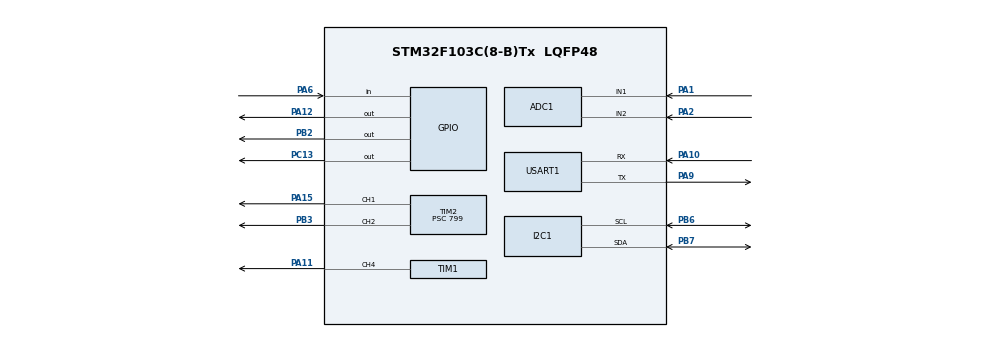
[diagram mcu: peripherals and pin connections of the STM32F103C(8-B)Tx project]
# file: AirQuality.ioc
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ADC1.Channel-1\#ChannelRegularConversion=ADC_CHANNEL_1
ADC1.NbrOfConversionFlag=1
ADC1.Rank-1\#ChannelRegularConversion=1
ADC1.SamplingTime-1\#ChannelRegularConversion=ADC_SAMPLETIME_1CYCLE_5
ADC1.master=1
Mcu.Family=STM32F1
Mcu.Name=STM32F103C(8-B)Tx
Mcu.Package=LQFP48
NVIC.PriorityGroup=NVIC_PRIORITYGROUP_4
NVIC.TIM4_IRQn=true\:0\:0\:false\:false\:true\:true\:true\:true
NVIC.USART1_IRQn=true\:0\:0\:false\:false\:true\:true\:true\:true
PA1.Signal=ADCx_IN1
PA10.Mode=Asynchronous
PA10.Signal=USART1_RX
PA11.Signal=S_TIM1_CH4
PA12.Signal=GPIO_Output
PA13.Mode=Serial_Wire
PA13.Signal=SYS_JTMS-SWDIO
PA14.Mode=Serial_Wire
PA14.Signal=SYS_JTCK-SWCLK
PA15.Signal=S_TIM2_CH1_ETR
PA2.Signal=ADCx_IN2
PA6.Signal=GPIO_Input
PA9.Mode=Asynchronous
PA9.Signal=USART1_TX
PB2.Signal=GPIO_Output
PB3.Signal=S_TIM2_CH2
PB6.Mode=I2C
PB6.Signal=I2C1_SCL
PB7.Mode=I2C
PB7.Signal=I2C1_SDA
PC13-TAMPER-RTC.Signal=GPIO_Output
ProjectManager.HeapSize=0x200
ProjectManager.StackSize=0x400
ProjectManager.TargetToolchain=MDK-ARM V5
RCC.APB1Freq_Value=8000000
RCC.APB2Freq_Value=8000000
SH.ADCx_IN1.0=ADC1_IN1,IN1
SH.ADCx_IN2.0=ADC1_IN2,IN2
SH.S_TIM1_CH4.0=TIM1_CH4,PWM Generation4 CH4
SH.S_TIM2_CH1_ETR.0=TIM2_CH1,PWM Generation1 CH1
SH.S_TIM2_CH2.0=TIM2_CH2,PWM Generation2 CH2
TIM1.Channel-PWM\ Generation4\ CH4=TIM_CHANNEL_4
TIM1.Period=99
TIM1.Prescaler=7999
TIM2.Channel-PWM\ Generation1\ CH1=TIM_CHANNEL_1
TIM2.Channel-PWM\ Generation2\ CH2=TIM_CHANNEL_2
TIM2.Period=199
TIM2.Prescaler=799
TIM4.Prescaler=8 - 1
USART1.VirtualMode=VM_ASYNC
VP_TIM1_VS_ClockSourceINT.Mode=Internal
VP_TIM2_VS_ClockSourceINT.Mode=Internal
VP_TIM4_VS_ClockSourceINT.Mode=Internal
board=custom

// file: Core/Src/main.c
/* USER CODE BEGIN Header */
/**
  ******************************************************************************
  * @file           : main.c
  * @brief          : Main program body
  ******************************************************************************
  * @attention
  *
  * Copyright (c) 2024 STMicroelectronics.
  * All rights reserved.
  *
  * This software is licensed under terms that can be found in the LICENSE file
  * in the root directory of this software component.
  * If no LICENSE file comes with this software, it is provided AS-IS.
  *
  ******************************************************************************
  */
/* USER CODE END Header */
#include "main.h"

/* USER CODE BEGIN Includes */
#include <stdio.h>
#include "string.h"
#include <math.h>
#include "i2c-lcd.h"
/* USER CODE END Includes */

ADC_HandleTypeDef hadc1;

I2C_HandleTypeDef hi2c1;

TIM_HandleTypeDef htim1;
TIM_HandleTypeDef htim2;
TIM_HandleTypeDef htim4;

UART_HandleTypeDef huart1;

/* USER CODE BEGIN PV */
uint8_t rxBuffer[14] = "";
uint16_t fanPWM = 49;
uint16_t door = 10;
uint16_t buzz = 200;
uint16_t coThreshold=2000;
uint16_t dustThreshold=600;
char bui[20];
char co2[20];
/* USER CODE END PV */

void SystemClock_Config(void);
static void MX_GPIO_Init(void);
static void MX_ADC1_Init(void);
static void MX_USART1_UART_Init(void);
static void MX_TIM1_Init(void);
static void MX_TIM4_Init(void);
static void MX_TIM2_Init(void);
static void MX_I2C1_Init(void);
/* USER CODE BEGIN PFP */
void delay_us(uint16_t delay);
/* USER CODE END PFP */

/* USER CODE BEGIN 0 */

//Get ADC value using adc 1
uint16_t ADC_GetValue(uint32_t channel){
		ADC_ChannelConfTypeDef conf = {
				.Channel = channel,
				.Rank = 1,
				.SamplingTime = ADC_SAMPLETIME_1CYCLE_5,
		};
		if (HAL_ADC_ConfigChannel(&hadc1, &conf) != HAL_OK) {
        Error_Handler();
    }
		HAL_ADC_Start(&hadc1);
		HAL_ADC_PollForConversion(&hadc1,HAL_MAX_DELAY);
		uint16_t res = HAL_ADC_GetValue(&hadc1);
		HAL_ADC_Stop(&hadc1);
		return res;
}

/* USER CODE END 0 */

int main(void)
{

  /* MCU Configuration--------------------------------------------------------*/

  /* Reset of all peripherals, Initializes the Flash interface and the Systick. */
  HAL_Init();

  /* Configure the system clock */
  SystemClock_Config();

  /* Initialize all configured peripherals */
  MX_GPIO_Init();
  MX_ADC1_Init();
  MX_USART1_UART_Init();
  MX_TIM1_Init();
  MX_TIM4_Init();
  MX_TIM2_Init();
  MX_I2C1_Init();
	lcd_init();
  /* USER CODE BEGIN 2 */
	HAL_TIM_PWM_Start(&htim1,TIM_CHANNEL_4);
	HAL_TIM_PWM_Start(&htim2, TIM_CHANNEL_1);
	HAL_TIM_PWM_Start(&htim2, TIM_CHANNEL_2);
	HAL_TIM_Base_Start_IT(&htim4);
	HAL_UART_Receive_IT(&huart1,rxBuffer,sizeof(rxBuffer));
  /* USER CODE END 2 */

  /* Infinite loop */
  /* USER CODE BEGIN WHILE */
	uint16_t adc_value_1;
	uint16_t adc_value_2;
	GPIO_PinState isGas;
	uint8_t msg[32] = "";

	lcd_goto_XY(1, 0);
	lcd_send_string("PPM Bui: ");
	HAL_Delay(50);
	lcd_goto_XY(2, 0);
	lcd_send_string("PPM CO2: ");
	HAL_Delay(50);

  while (1)
  {
    /* USER CODE END WHILE */

    /* USER CODE BEGIN 3 */
		//Toggle Led
		HAL_GPIO_TogglePin(GPIOC,GPIO_PIN_13);

		//Check MQ135 dectect Gas, 1 means OK, 0 means having gas
		isGas = HAL_GPIO_ReadPin(GPIOA,GPIO_PIN_6);

		//Drive LED for GP2Y
		HAL_GPIO_WritePin(GPIOA, GPIO_PIN_12, GPIO_PIN_SET);
		delay_us(280);

		//Get analog value of MQ135
		adc_value_1 = ADC_GetValue(ADC_CHANNEL_1);
		//Get analog value of GP2Y1010AU0F Dust sensor
		adc_value_2 = ADC_GetValue(ADC_CHANNEL_2);

		double airQualityLevel = 116.0602082 * pow((4096.0/adc_value_1*5-1)*10.0/76.63,-2.7769034857);
		double dustLevel = adc_value_2 / 4095.0 * 3.3 / 6.0 - 0.6;
		if(dustLevel < 0) dustLevel = 0;

		sprintf(bui, "%.1f", dustLevel);
		lcd_goto_XY(1, 10);
		lcd_send_string(bui);
		HAL_Delay(50);

		sprintf(co2, "%.1f", airQualityLevel);
		lcd_goto_XY(2, 10);
		lcd_send_string(co2);

		//Turn off LED for GP2Y
		HAL_GPIO_WritePin(GPIOA, GPIO_PIN_12, GPIO_PIN_RESET);
		delay_us(40);

		//Check sensor value to turn on fan
		//If having Gas, open door, turn on buzz, and fan
		if(isGas == 0 || airQualityLevel >= coThreshold ){
				//On fan, open door, turn on buzz
				__HAL_TIM_SET_COMPARE(&htim1,TIM_CHANNEL_4,fanPWM);
				__HAL_TIM_SET_COMPARE(&htim2,TIM_CHANNEL_1,door);
				__HAL_TIM_SET_COMPARE(&htim2,TIM_CHANNEL_2,buzz);
		}
		//If dust is too high, turn on fan and open windown
		else if (adc_value_2 <dustThreshold) {
				__HAL_TIM_SET_COMPARE(&htim1,TIM_CHANNEL_4,fanPWM);
				__HAL_TIM_SET_COMPARE(&htim2,TIM_CHANNEL_1,door);
				__HAL_TIM_SET_COMPARE(&htim2,TIM_CHANNEL_2,0);
		}
		//IF nothing pass threshold and no gas, turn off all
		else{
				//Off fan
				__HAL_TIM_SET_COMPARE(&htim1,TIM_CHANNEL_4,0);
				__HAL_TIM_SET_COMPARE(&htim2,TIM_CHANNEL_1,20);
				__HAL_TIM_SET_COMPARE(&htim2,TIM_CHANNEL_2,0);
		}

		//Make msg(message) from variables
		sprintf((char *)msg,"%d %d %d", isGas, (int)airQualityLevel,(int)dustLevel);
		//Send string by using UART
		HAL_UART_Transmit(&huart1,msg,sizeof(msg),10);

		HAL_Delay(1000);
  }
  /* USER CODE END 3 */
}

void SystemClock_Config(void)
{
  RCC_OscInitTypeDef RCC_OscInitStruct = {0};
  RCC_ClkInitTypeDef RCC_ClkInitStruct = {0};
  RCC_PeriphCLKInitTypeDef PeriphClkInit = {0};

  /** Initializes the RCC Oscillators according to the specified parameters
  * in the RCC_OscInitTypeDef structure.
  */
  RCC_OscInitStruct.OscillatorType = RCC_OSCILLATORTYPE_HSI;
  RCC_OscInitStruct.HSIState = RCC_HSI_ON;
  RCC_OscInitStruct.HSICalibrationValue = RCC_HSICALIBRATION_DEFAULT;
  RCC_OscInitStruct.PLL.PLLState = RCC_PLL_NONE;
  if (HAL_RCC_OscConfig(&RCC_OscInitStruct) != HAL_OK)
  {
    Error_Handler();
  }

  /** Initializes the CPU, AHB and APB buses clocks
  */
  RCC_ClkInitStruct.ClockType = RCC_CLOCKTYPE_HCLK|RCC_CLOCKTYPE_SYSCLK
                              |RCC_CLOCKTYPE_PCLK1|RCC_CLOCKTYPE_PCLK2;
  RCC_ClkInitStruct.SYSCLKSource = RCC_SYSCLKSOURCE_HSI;
  RCC_ClkInitStruct.AHBCLKDivider = RCC_SYSCLK_DIV1;
  RCC_ClkInitStruct.APB1CLKDivider = RCC_HCLK_DIV1;
  RCC_ClkInitStruct.APB2CLKDivider = RCC_HCLK_DIV1;

  if (HAL_RCC_ClockConfig(&RCC_ClkInitStruct, FLASH_LATENCY_0) != HAL_OK)
  {
    Error_Handler();
  }
  PeriphClkInit.PeriphClockSelection = RCC_PERIPHCLK_ADC;
  PeriphClkInit.AdcClockSelection = RCC_ADCPCLK2_DIV2;
  if (HAL_RCCEx_PeriphCLKConfig(&PeriphClkInit) != HAL_OK)
  {
    Error_Handler();
  }
}

static void MX_ADC1_Init(void)
{

  ADC_ChannelConfTypeDef sConfig = {0};

  /** Common config
  */
  hadc1.Instance = ADC1;
  hadc1.Init.ScanConvMode = ADC_SCAN_DISABLE;
  hadc1.Init.ContinuousConvMode = DISABLE;
  hadc1.Init.DiscontinuousConvMode = DISABLE;
  hadc1.Init.ExternalTrigConv = ADC_SOFTWARE_START;
  hadc1.Init.DataAlign = ADC_DATAALIGN_RIGHT;
  hadc1.Init.NbrOfConversion = 1;
  if (HAL_ADC_Init(&hadc1) != HAL_OK)
  {
    Error_Handler();
  }

  /** Configure Regular Channel
  */
  sConfig.Channel = ADC_CHANNEL_1;
  sConfig.Rank = ADC_REGULAR_RANK_1;
  sConfig.SamplingTime = ADC_SAMPLETIME_1CYCLE_5;
  if (HAL_ADC_ConfigChannel(&hadc1, &sConfig) != HAL_OK)
  {
    Error_Handler();
  }

}

static void MX_I2C1_Init(void)
{

  hi2c1.Instance = I2C1;
  hi2c1.Init.ClockSpeed = 100000;
  hi2c1.Init.DutyCycle = I2C_DUTYCYCLE_2;
  hi2c1.Init.OwnAddress1 = 0;
  hi2c1.Init.AddressingMode = I2C_ADDRESSINGMODE_7BIT;
  hi2c1.Init.DualAddressMode = I2C_DUALADDRESS_DISABLE;
  hi2c1.Init.OwnAddress2 = 0;
  hi2c1.Init.GeneralCallMode = I2C_GENERALCALL_DISABLE;
  hi2c1.Init.NoStretchMode = I2C_NOSTRETCH_DISABLE;
  if (HAL_I2C_Init(&hi2c1) != HAL_OK)
  {
    Error_Handler();
  }

}

static void MX_TIM1_Init(void)
{

  TIM_ClockConfigTypeDef sClockSourceConfig = {0};
  TIM_MasterConfigTypeDef sMasterConfig = {0};
  TIM_OC_InitTypeDef sConfigOC = {0};
  TIM_BreakDeadTimeConfigTypeDef sBreakDeadTimeConfig = {0};

  htim1.Instance = TIM1;
  htim1.Init.Prescaler = 7999;
  htim1.Init.CounterMode = TIM_COUNTERMODE_UP;
  htim1.Init.Period = 99;
  htim1.Init.ClockDivision = TIM_CLOCKDIVISION_DIV1;
  htim1.Init.RepetitionCounter = 0;
  htim1.Init.AutoReloadPreload = TIM_AUTORELOAD_PRELOAD_DISABLE;
  if (HAL_TIM_Base_Init(&htim1) != HAL_OK)
  {
    Error_Handler();
  }
  sClockSourceConfig.ClockSource = TIM_CLOCKSOURCE_INTERNAL;
  if (HAL_TIM_ConfigClockSource(&htim1, &sClockSourceConfig) != HAL_OK)
  {
    Error_Handler();
  }
  if (HAL_TIM_PWM_Init(&htim1) != HAL_OK)
  {
    Error_Handler();
  }
  sMasterConfig.MasterOutputTrigger = TIM_TRGO_RESET;
  sMasterConfig.MasterSlaveMode = TIM_MASTERSLAVEMODE_DISABLE;
  if (HAL_TIMEx_MasterConfigSynchronization(&htim1, &sMasterConfig) != HAL_OK)
  {
    Error_Handler();
  }
  sConfigOC.OCMode = TIM_OCMODE_PWM1;
  sConfigOC.Pulse = 0;
  sConfigOC.OCPolarity = TIM_OCPOLARITY_HIGH;
  sConfigOC.OCFastMode = TIM_OCFAST_DISABLE;
  sConfigOC.OCIdleState = TIM_OCIDLESTATE_RESET;
  sConfigOC.OCNIdleState = TIM_OCNIDLESTATE_RESET;
  if (HAL_TIM_PWM_ConfigChannel(&htim1, &sConfigOC, TIM_CHANNEL_4) != HAL_OK)
  {
    Error_Handler();
  }
  sBreakDeadTimeConfig.OffStateRunMode = TIM_OSSR_DISABLE;
  sBreakDeadTimeConfig.OffStateIDLEMode = TIM_OSSI_DISABLE;
  sBreakDeadTimeConfig.LockLevel = TIM_LOCKLEVEL_OFF;
  sBreakDeadTimeConfig.DeadTime = 0;
  sBreakDeadTimeConfig.BreakState = TIM_BREAK_DISABLE;
  sBreakDeadTimeConfig.BreakPolarity = TIM_BREAKPOLARITY_HIGH;
  sBreakDeadTimeConfig.AutomaticOutput = TIM_AUTOMATICOUTPUT_DISABLE;
  if (HAL_TIMEx_ConfigBreakDeadTime(&htim1, &sBreakDeadTimeConfig) != HAL_OK)
  {
    Error_Handler();
  }
  HAL_TIM_MspPostInit(&htim1);

}

static void MX_TIM2_Init(void)
{

  TIM_ClockConfigTypeDef sClockSourceConfig = {0};
  TIM_MasterConfigTypeDef sMasterConfig = {0};
  TIM_OC_InitTypeDef sConfigOC = {0};

  htim2.Instance = TIM2;
  htim2.Init.Prescaler = 799;
  htim2.Init.CounterMode = TIM_COUNTERMODE_UP;
  htim2.Init.Period = 199;
  htim2.Init.ClockDivision = TIM_CLOCKDIVISION_DIV1;
  htim2.Init.AutoReloadPreload = TIM_AUTORELOAD_PRELOAD_DISABLE;
  if (HAL_TIM_Base_Init(&htim2) != HAL_OK)
  {
    Error_Handler();
  }
  sClockSourceConfig.ClockSource = TIM_CLOCKSOURCE_INTERNAL;
  if (HAL_TIM_ConfigClockSource(&htim2, &sClockSourceConfig) != HAL_OK)
  {
    Error_Handler();
  }
  if (HAL_TIM_PWM_Init(&htim2) != HAL_OK)
  {
    Error_Handler();
  }
  sMasterConfig.MasterOutputTrigger = TIM_TRGO_RESET;
  sMasterConfig.MasterSlaveMode = TIM_MASTERSLAVEMODE_DISABLE;
  if (HAL_TIMEx_MasterConfigSynchronization(&htim2, &sMasterConfig) != HAL_OK)
  {
    Error_Handler();
  }
  sConfigOC.OCMode = TIM_OCMODE_PWM1;
  sConfigOC.Pulse = 0;
  sConfigOC.OCPolarity = TIM_OCPOLARITY_HIGH;
  sConfigOC.OCFastMode = TIM_OCFAST_DISABLE;
  if (HAL_TIM_PWM_ConfigChannel(&htim2, &sConfigOC, TIM_CHANNEL_1) != HAL_OK)
  {
    Error_Handler();
  }
  if (HAL_TIM_PWM_ConfigChannel(&htim2, &sConfigOC, TIM_CHANNEL_2) != HAL_OK)
  {
    Error_Handler();
  }
  HAL_TIM_MspPostInit(&htim2);

}

static void MX_TIM4_Init(void)
{

  TIM_ClockConfigTypeDef sClockSourceConfig = {0};
  TIM_MasterConfigTypeDef sMasterConfig = {0};

  htim4.Instance = TIM4;
  htim4.Init.Prescaler = 8 - 1;
  htim4.Init.CounterMode = TIM_COUNTERMODE_UP;
  htim4.Init.Period = 65535;
  htim4.Init.ClockDivision = TIM_CLOCKDIVISION_DIV1;
  htim4.Init.AutoReloadPreload = TIM_AUTORELOAD_PRELOAD_DISABLE;
  if (HAL_TIM_Base_Init(&htim4) != HAL_OK)
  {
    Error_Handler();
  }
  sClockSourceConfig.ClockSource = TIM_CLOCKSOURCE_INTERNAL;
  if (HAL_TIM_ConfigClockSource(&htim4, &sClockSourceConfig) != HAL_OK)
  {
    Error_Handler();
  }
  sMasterConfig.MasterOutputTrigger = TIM_TRGO_RESET;
  sMasterConfig.MasterSlaveMode = TIM_MASTERSLAVEMODE_DISABLE;
  if (HAL_TIMEx_MasterConfigSynchronization(&htim4, &sMasterConfig) != HAL_OK)
  {
    Error_Handler();
  }

}

static void MX_USART1_UART_Init(void)
{

  huart1.Instance = USART1;
  huart1.Init.BaudRate = 115200;
  huart1.Init.WordLength = UART_WORDLENGTH_8B;
  huart1.Init.StopBits = UART_STOPBITS_1;
  huart1.Init.Parity = UART_PARITY_NONE;
  huart1.Init.Mode = UART_MODE_TX_RX;
  huart1.Init.HwFlowCtl = UART_HWCONTROL_NONE;
  huart1.Init.OverSampling = UART_OVERSAMPLING_16;
  if (HAL_UART_Init(&huart1) != HAL_OK)
  {
    Error_Handler();
  }

}

static void MX_GPIO_Init(void)
{
  GPIO_InitTypeDef GPIO_InitStruct = {0};

  /* GPIO Ports Clock Enable */
  __HAL_RCC_GPIOC_CLK_ENABLE();
  __HAL_RCC_GPIOA_CLK_ENABLE();
  __HAL_RCC_GPIOB_CLK_ENABLE();

  /*Configure GPIO pin Output Level */
  HAL_GPIO_WritePin(GPIOC, GPIO_PIN_13, GPIO_PIN_RESET);

  /*Configure GPIO pin Output Level */
  HAL_GPIO_WritePin(GPIOB, GPIO_PIN_2, GPIO_PIN_RESET);

  /*Configure GPIO pin Output Level */
  HAL_GPIO_WritePin(GPIOA, GPIO_PIN_12, GPIO_PIN_RESET);

  /*Configure GPIO pin : PC13 */
  GPIO_InitStruct.Pin = GPIO_PIN_13;
  GPIO_InitStruct.Mode = GPIO_MODE_OUTPUT_PP;
  GPIO_InitStruct.Pull = GPIO_NOPULL;
  GPIO_InitStruct.Speed = GPIO_SPEED_FREQ_LOW;
  HAL_GPIO_Init(GPIOC, &GPIO_InitStruct);

  /*Configure GPIO pin : PA6 */
  GPIO_InitStruct.Pin = GPIO_PIN_6;
  GPIO_InitStruct.Mode = GPIO_MODE_INPUT;
  GPIO_InitStruct.Pull = GPIO_NOPULL;
  HAL_GPIO_Init(GPIOA, &GPIO_InitStruct);

  /*Configure GPIO pin : PB2 */
  GPIO_InitStruct.Pin = GPIO_PIN_2;
  GPIO_InitStruct.Mode = GPIO_MODE_OUTPUT_PP;
  GPIO_InitStruct.Pull = GPIO_NOPULL;
  GPIO_InitStruct.Speed = GPIO_SPEED_FREQ_LOW;
  HAL_GPIO_Init(GPIOB, &GPIO_InitStruct);

  /*Configure GPIO pin : PA12 */
  GPIO_InitStruct.Pin = GPIO_PIN_12;
  GPIO_InitStruct.Mode = GPIO_MODE_OUTPUT_PP;
  GPIO_InitStruct.Pull = GPIO_NOPULL;
  GPIO_InitStruct.Speed = GPIO_SPEED_FREQ_LOW;
  HAL_GPIO_Init(GPIOA, &GPIO_InitStruct);

}

/* USER CODE BEGIN 4 */
//void HAL_TIM_PeriodElapsedCallback(TIM_HandleTypeDef *htim) {
//	if (htim->Instance == htim4.Instance) {
//		if (HAL_GPIO_ReadPin(GPIOA, GPIO_PIN_12) == 1) {
//			HAL_GPIO_WritePin(GPIOA, GPIO_PIN_12, GPIO_PIN_RESET);
//			__HAL_TIM_SET_AUTORELOAD(&htim4, 280 - 1);
//		} else {
//			HAL_GPIO_WritePin(GPIOA, GPIO_PIN_12, GPIO_PIN_SET);
//			__HAL_TIM_SET_AUTORELOAD(&htim4, 40 - 1);
//		}
//	}
//}
//Delay for drive LED dust sensor
void delay_us(uint16_t au16_us)
{
    htim4.Instance->CNT = 0;
    while (htim4.Instance->CNT < au16_us);
}

//Update new threshold and fan speed by using UART
void HAL_UART_RxCpltCallback(UART_HandleTypeDef *huart) {
		if(huart->Instance == USART1){
				//Get string
				HAL_UART_Receive_IT(&huart1,rxBuffer,sizeof(rxBuffer));

				//Get data from string
				sscanf((char *)rxBuffer,"%d %d %d",
						(int*)&fanPWM,(int*)&coThreshold,(int*)&dustThreshold);
		}
}
/* USER CODE END 4 */

void Error_Handler(void)
{
  __disable_irq();
  while (1)
  {
  }
}
